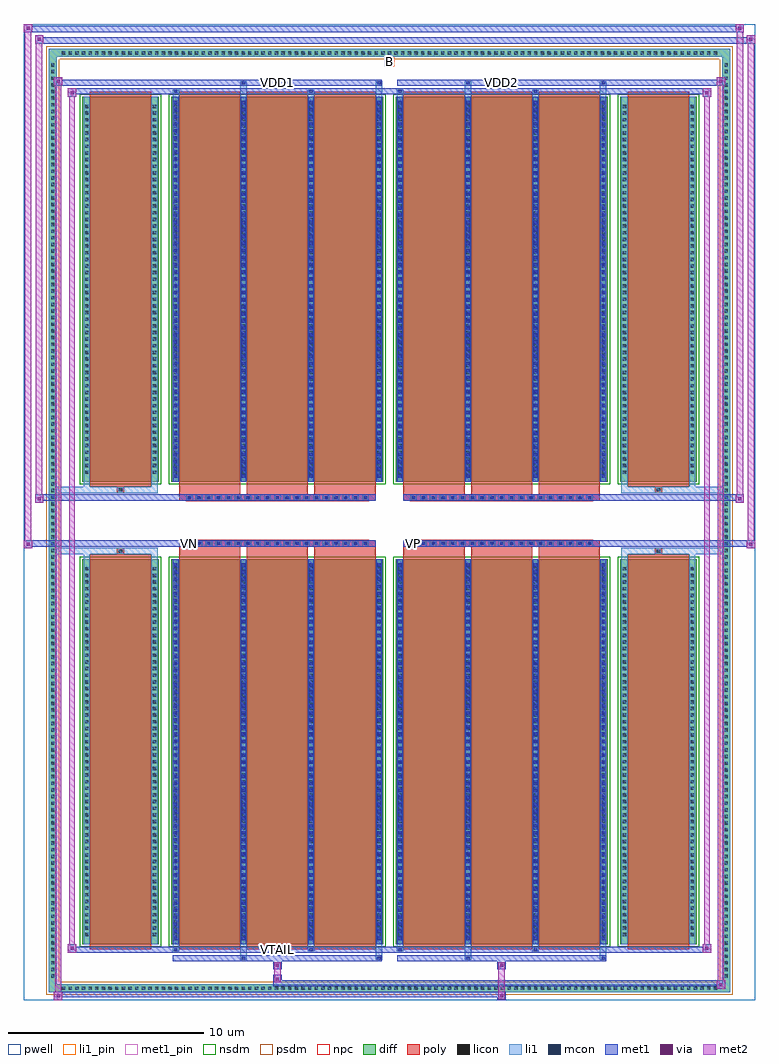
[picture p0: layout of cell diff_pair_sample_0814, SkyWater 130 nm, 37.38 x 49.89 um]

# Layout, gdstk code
import gdstk
lib = gdstk.Library(unit=1e-6, precision=5e-09)
def R(c, l, rs):  # rectangles x0, y0, x1, y1
    for r in rs: c.add(gdstk.rectangle(r[:2], r[2:], *l))
def A(c, l, x, y, w, h, nx, ny, dx, dy):  # array of equal rectangles
    R(c, l, [(x+i*dx, y+j*dy, x+i*dx+w, y+j*dy+h) for i in range(nx) for j in range(ny)])
def P(c, l, *ps):  # polygons
    for p in ps: c.add(gdstk.Polygon(p, *l))
pwell = (64, 44)
diff = (65, 20)
poly = (66, 20)
licon = (66, 44)
li1_pin = (67, 16)
li1 = (67, 20)
mcon = (67, 44)
met1_pin = (68, 16)
met1 = (68, 20)
via = (68, 44)
met2 = (69, 20)
nsdm = (93, 44)
psdm = (94, 20)
npc = (95, 20)

diff_pair_sample_0814 = lib.new_cell('diff_pair_sample_0814')
R(diff_pair_sample_0814, pwell, [(-18.69,-24.51,18.69,25.38), (-16.01,-22.7,-0.01,-0.8), (0.01,-22.7,16.01,-0.8), (-16.01,0.8,-0.01,22.7), (0.01,0.8,16.01,22.7)])
A(diff_pair_sample_0814, diff, -16.865, -24.11, 0.41, 0.41, 99, 2, 0.34, 47.81)
A(diff_pair_sample_0814, diff, -17.42, -23.495, 0.41, 0.41, 1, 138, 0, 0.34)
A(diff_pair_sample_0814, diff, 17.01, -23.495, 0.41, 0.41, 1, 138, 0, 0.34)
R(diff_pair_sample_0814, diff, [(-16.865,-24.11,16.865,-23.7), (-17.42,-23.495,-17.01,23.495), (17.01,-23.495,17.42,23.495), (-15.7,-21.655,-11.79,-1.985), (-11.15,-21.655,-0.32,-1.985), (0.32,-21.655,11.15,-1.985), (11.79,-21.655,15.7,-1.985), (-15.7,1.985,-11.79,21.655), (-11.15,1.985,-0.32,21.655), (0.32,1.985,11.15,21.655), (11.79,1.985,15.7,21.655), (-16.865,23.7,16.865,24.11)])
P(diff_pair_sample_0814, diff, [(17.42,24.11),(-17.42,24.11),(-17.42,-23.7),(-17.01,-23.7),(-17.01,23.7),(17.01,23.7),(17.01,-23.7),(-17.01,-23.7),(-17.42,-23.7),(-17.42,-24.11),(17.42,-24.11)])
A(diff_pair_sample_0814, poly, -10.76, -21.905, 3.13, 20.17, 3, 2, 3.46, 23.64)
A(diff_pair_sample_0814, poly, 0.71, -21.905, 3.13, 20.17, 3, 2, 3.46, 23.64)
A(diff_pair_sample_0814, poly, -10.76, -1.735, 3.13, 0.405, 3, 2, 3.46, 3.065)
A(diff_pair_sample_0814, poly, 0.71, -1.735, 3.13, 0.405, 3, 2, 3.46, 3.065)
A(diff_pair_sample_0814, poly, -10.4, -1.33, 0.33, 0.33, 19, 2, 0.5, 2.33)
A(diff_pair_sample_0814, poly, 1.07, -1.33, 0.33, 0.33, 19, 2, 0.5, 2.33)
R(diff_pair_sample_0814, poly, [(-15.31,-21.905,-12.18,-1.735), (12.18,-21.905,15.31,-1.735), (-13.91,-1.735,-13.58,-1.405), (-13.91,-1.735,-13.58,-1.405), (13.58,-1.735,13.91,-1.405), (13.58,-1.735,13.91,-1.405), (-10.76,-1.33,-0.71,-1), (0.71,-1.33,10.76,-1), (-10.76,1,-0.71,1.33), (0.71,1,10.76,1.33), (-13.91,1.405,-13.58,1.735), (-13.91,1.405,-13.58,1.735), (13.58,1.405,13.91,1.735), (13.58,1.405,13.91,1.735), (-15.31,1.735,-12.18,21.905), (12.18,1.735,15.31,21.905)])
A(diff_pair_sample_0814, licon, -16.745, -23.99, 0.17, 0.17, 99, 2, 0.34, 47.81)
A(diff_pair_sample_0814, licon, -17.3, -23.375, 0.17, 0.17, 1, 138, 0, 0.34)
A(diff_pair_sample_0814, licon, 17.13, -23.375, 0.17, 0.17, 1, 138, 0, 0.34)
A(diff_pair_sample_0814, licon, -15.56, -21.255, 0.17, 0.17, 1, 56, 0, 0.34)
A(diff_pair_sample_0814, licon, -12.1, -21.255, 0.17, 0.17, 1, 56, 0, 0.34)
A(diff_pair_sample_0814, licon, -11.01, -21.255, 0.17, 0.17, 4, 56, 3.46, 0.34)
A(diff_pair_sample_0814, licon, 0.46, -21.255, 0.17, 0.17, 4, 56, 3.46, 0.34)
A(diff_pair_sample_0814, licon, 11.93, -21.255, 0.17, 0.17, 1, 56, 0, 0.34)
A(diff_pair_sample_0814, licon, 15.39, -21.255, 0.17, 0.17, 1, 56, 0, 0.34)
A(diff_pair_sample_0814, licon, -10.32, -1.25, 0.17, 0.17, 19, 2, 0.5, 2.33)
A(diff_pair_sample_0814, licon, 1.15, -1.25, 0.17, 0.17, 19, 2, 0.5, 2.33)
A(diff_pair_sample_0814, licon, -15.56, 2.385, 0.17, 0.17, 1, 56, 0, 0.34)
A(diff_pair_sample_0814, licon, -12.1, 2.385, 0.17, 0.17, 1, 56, 0, 0.34)
A(diff_pair_sample_0814, licon, -11.01, 2.385, 0.17, 0.17, 4, 56, 3.46, 0.34)
A(diff_pair_sample_0814, licon, 0.46, 2.385, 0.17, 0.17, 4, 56, 3.46, 0.34)
A(diff_pair_sample_0814, licon, 11.93, 2.385, 0.17, 0.17, 1, 56, 0, 0.34)
A(diff_pair_sample_0814, licon, 15.39, 2.385, 0.17, 0.17, 1, 56, 0, 0.34)
R(diff_pair_sample_0814, licon, [(-13.83,-1.655,-13.66,-1.485), (13.66,-1.655,13.83,-1.485), (-13.83,1.485,-13.66,1.655), (13.66,1.485,13.83,1.655)])
R(diff_pair_sample_0814, li1_pin, [(-0.25,23.2,0.25,23.7)])
A(diff_pair_sample_0814, li1, -16.825, -24.07, 0.33, 0.33, 99, 2, 0.34, 47.81)
A(diff_pair_sample_0814, li1, -17.38, -23.455, 0.33, 0.33, 1, 138, 0, 0.34)
A(diff_pair_sample_0814, li1, 17.05, -23.455, 0.33, 0.33, 1, 138, 0, 0.34)
A(diff_pair_sample_0814, li1, -11.09, -21.655, 0.33, 19.67, 4, 2, 3.46, 23.64)
A(diff_pair_sample_0814, li1, 0.38, -21.655, 0.33, 19.67, 4, 2, 3.46, 23.64)
A(diff_pair_sample_0814, li1, -11.01, -21.445, 0.17, 0.17, 4, 54, 3.46, 0.36)
A(diff_pair_sample_0814, li1, -11.01, -21.445, 0.17, 19.25, 4, 2, 3.46, 23.64)
A(diff_pair_sample_0814, li1, 0.46, -21.445, 0.17, 0.17, 4, 54, 3.46, 0.36)
A(diff_pair_sample_0814, li1, 0.46, -21.445, 0.17, 19.25, 4, 2, 3.46, 23.64)
A(diff_pair_sample_0814, li1, -15.64, -21.335, 0.33, 0.33, 1, 56, 0, 0.34)
A(diff_pair_sample_0814, li1, -12.18, -21.335, 0.33, 0.33, 1, 56, 0, 0.34)
A(diff_pair_sample_0814, li1, -11.09, -21.335, 0.33, 0.33, 4, 56, 3.46, 0.34)
A(diff_pair_sample_0814, li1, 0.38, -21.335, 0.33, 0.33, 4, 56, 3.46, 0.34)
A(diff_pair_sample_0814, li1, 11.85, -21.335, 0.33, 0.33, 1, 56, 0, 0.34)
A(diff_pair_sample_0814, li1, 15.31, -21.335, 0.33, 0.33, 1, 56, 0, 0.34)
A(diff_pair_sample_0814, li1, -10.4, -1.33, 0.33, 0.33, 19, 2, 0.5, 2.33)
A(diff_pair_sample_0814, li1, 1.07, -1.33, 0.33, 0.33, 19, 2, 0.5, 2.33)
A(diff_pair_sample_0814, li1, -11.01, 2.195, 0.17, 0.17, 4, 54, 3.46, 0.36)
A(diff_pair_sample_0814, li1, 0.46, 2.195, 0.17, 0.17, 4, 54, 3.46, 0.36)
A(diff_pair_sample_0814, li1, -15.64, 2.305, 0.33, 0.33, 1, 56, 0, 0.34)
A(diff_pair_sample_0814, li1, -12.18, 2.305, 0.33, 0.33, 1, 56, 0, 0.34)
A(diff_pair_sample_0814, li1, -11.09, 2.305, 0.33, 0.33, 4, 56, 3.46, 0.34)
A(diff_pair_sample_0814, li1, 0.38, 2.305, 0.33, 0.33, 4, 56, 3.46, 0.34)
A(diff_pair_sample_0814, li1, 11.85, 2.305, 0.33, 0.33, 1, 56, 0, 0.34)
A(diff_pair_sample_0814, li1, 15.31, 2.305, 0.33, 0.33, 1, 56, 0, 0.34)
R(diff_pair_sample_0814, li1, [(-17.42,-24.11,-17.01,-23.7), (-17.42,-24.11,-17.01,-23.7), (-17.01,-24.11,17.01,-23.7), (17.01,-24.11,17.42,-23.7), (17.01,-24.11,17.42,-23.7), (-17.42,-23.7,-17.01,23.7), (17.01,-23.7,17.42,23.7), (-7.63,-22.46,-7.3,-21.655), (-7.55,-22.46,-7.38,-22.29), (-0.71,-22.46,-0.38,-21.655), (-0.63,-22.46,-0.46,-22.29), (3.84,-22.46,4.17,-21.655), (3.92,-22.46,4.09,-22.29), (10.76,-22.46,11.09,-21.655), (10.84,-22.46,11.01,-22.29), (-11.09,-22.03,-10.76,-21.655), (-11.01,-22.03,-10.84,-21.86), (-4.17,-22.03,-3.84,-21.655), (-4.09,-22.03,-3.92,-21.86), (0.38,-22.03,0.71,-21.655), (0.46,-22.03,0.63,-21.86), (7.3,-22.03,7.63,-21.655), (7.38,-22.03,7.55,-21.86), (-15.64,-21.655,-15.31,-1.985), (-12.18,-21.655,-11.85,-1.985), (11.85,-21.655,12.18,-1.985), (15.31,-21.655,15.64,-1.985), (-15.64,-1.985,-15.31,-1.405), (-12.18,-1.985,-11.85,-1.405), (11.85,-1.985,12.18,-1.405), (15.31,-1.985,15.64,-1.405), (-17.42,-1.735,-13.91,-1.405), (-15.64,-1.735,-13.91,-1.405), (-13.91,-1.735,-13.58,-1.405), (-13.58,-1.735,-11.85,-1.405), (11.85,-1.735,13.58,-1.405), (13.58,-1.735,13.91,-1.405), (13.58,-1.735,17.42,-1.405), (13.91,-1.735,15.64,-1.405), (-17.42,1.405,-13.91,1.735), (-15.64,1.405,-13.91,1.735), (-15.64,1.405,-15.31,1.985), (-13.91,1.405,-13.58,1.735), (-13.58,1.405,-11.85,1.735), (-12.18,1.405,-11.85,1.985), (11.85,1.405,13.58,1.735), (11.85,1.405,12.18,1.985), (13.58,1.405,13.91,1.735), (13.58,1.405,17.42,1.735), (13.91,1.405,15.64,1.735), (15.31,1.405,15.64,1.985), (-15.64,1.985,-15.31,21.655), (-12.18,1.985,-11.85,21.655), (11.85,1.985,12.18,21.655), (15.31,1.985,15.64,21.655), (-11.09,21.655,-10.76,22.03), (-7.63,21.655,-7.3,22.46), (-4.17,21.655,-3.84,22.03), (-0.71,21.655,-0.38,22.46), (0.38,21.655,0.71,22.03), (3.84,21.655,4.17,22.46), (7.3,21.655,7.63,22.03), (10.76,21.655,11.09,22.46), (-11.01,21.86,-10.84,22.03), (-4.09,21.86,-3.92,22.03), (0.46,21.86,0.63,22.03), (7.38,21.86,7.55,22.03), (-7.55,22.29,-7.38,22.46), (-0.63,22.29,-0.46,22.46), (3.92,22.29,4.09,22.46), (10.84,22.29,11.01,22.46), (-17.42,23.7,-17.01,24.11), (-17.42,23.7,-17.01,24.11), (-17.01,23.7,17.01,24.11), (17.01,23.7,17.42,24.11), (17.01,23.7,17.42,24.11)])
A(diff_pair_sample_0814, mcon, -11.01, -21.445, 0.17, 0.17, 4, 54, 3.46, 0.36)
A(diff_pair_sample_0814, mcon, 0.46, -21.445, 0.17, 0.17, 4, 54, 3.46, 0.36)
A(diff_pair_sample_0814, mcon, -10.32, -1.25, 0.17, 0.17, 19, 2, 0.5, 2.33)
A(diff_pair_sample_0814, mcon, 1.15, -1.25, 0.17, 0.17, 19, 2, 0.5, 2.33)
A(diff_pair_sample_0814, mcon, -11.01, 2.195, 0.17, 0.17, 4, 54, 3.46, 0.36)
A(diff_pair_sample_0814, mcon, 0.46, 2.195, 0.17, 0.17, 4, 54, 3.46, 0.36)
R(diff_pair_sample_0814, mcon, [(-7.55,-22.46,-7.38,-22.29), (-0.63,-22.46,-0.46,-22.29), (3.92,-22.46,4.09,-22.29), (10.84,-22.46,11.01,-22.29), (-11.01,-22.03,-10.84,-21.86), (-4.09,-22.03,-3.92,-21.86), (0.46,-22.03,0.63,-21.86), (7.38,-22.03,7.55,-21.86), (-11.01,21.86,-10.84,22.03), (-4.09,21.86,-3.92,22.03), (0.46,21.86,0.63,22.03), (7.38,21.86,7.55,22.03), (-7.55,22.29,-7.38,22.46), (-0.63,22.29,-0.46,22.46), (3.92,22.29,4.09,22.46), (10.84,22.29,11.01,22.46)])
R(diff_pair_sample_0814, met1_pin, [(-5.87,-22.07,-5.6,-21.8), (-10.37,-1.29,-10.1,-1.02), (1.1,-1.29,1.37,-1.02), (-5.87,22.25,-5.6,22.52), (5.6,22.25,5.87,22.52)])
A(diff_pair_sample_0814, met1, -11.07, -21.655, 0.29, 19.67, 4, 2, 3.46, 23.64)
A(diff_pair_sample_0814, met1, 0.4, -21.655, 0.29, 19.67, 4, 2, 3.46, 23.64)
A(diff_pair_sample_0814, met1, -11.07, -21.505, 0.29, 0.29, 4, 54, 3.46, 0.36)
A(diff_pair_sample_0814, met1, 0.4, -21.505, 0.29, 0.29, 4, 54, 3.46, 0.36)
A(diff_pair_sample_0814, met1, -10.38, -1.31, 0.29, 0.29, 19, 2, 0.5, 2.33)
A(diff_pair_sample_0814, met1, 1.09, -1.31, 0.29, 0.29, 19, 2, 0.5, 2.33)
A(diff_pair_sample_0814, met1, -11.07, 2.135, 0.29, 0.29, 4, 54, 3.46, 0.36)
A(diff_pair_sample_0814, met1, 0.4, 2.135, 0.29, 0.29, 4, 54, 3.46, 0.36)
R(diff_pair_sample_0814, met1, [(-17.15,-24.51,-16.72,-24.08), (5.52,-24.51,5.95,-24.08), (-17.15,-24.37,5.95,-24.08), (16.72,-23.94,17.15,-23.51), (-5.95,-23.8,17.15,-23.51), (-5.95,-23.66,-5.52,-23.23), (-5.95,-22.95,-5.52,-22.52), (5.52,-22.95,5.95,-22.52), (-11.07,-22.52,-0.4,-22.23), (-7.61,-22.52,-7.32,-22.23), (-0.69,-22.52,-0.4,-22.23), (0.4,-22.52,11.07,-22.23), (3.86,-22.52,4.15,-22.23), (10.78,-22.52,11.07,-22.23), (-16.44,-22.09,-16.01,-21.66), (-16.44,-22.09,-11.07,-21.8), (-11.07,-22.09,-10.78,-21.8), (-11.07,-22.09,-0.4,-21.8), (-4.15,-22.09,-3.86,-21.8), (-0.4,-22.09,0.4,-21.8), (0.4,-22.09,0.69,-21.8), (0.4,-22.09,11.07,-21.8), (7.32,-22.09,7.61,-21.8), (11.07,-22.09,16.44,-21.8), (16.01,-22.09,16.44,-21.66), (-18.69,-1.43,-18.26,-1), (18.26,-1.43,18.69,-1), (-18.69,-1.33,-0.71,-1), (-10.76,-1.33,-0.71,-1), (0.71,-1.33,10.76,-1), (0.71,-1.33,18.69,-1), (-18.12,0.9,-17.69,1.33), (17.69,0.9,18.12,1.33), (-18.12,1,-10.76,1.33), (-10.76,1,-0.71,1.33), (0.71,1,10.76,1.33), (10.76,1,18.12,1.33), (-16.44,21.66,-16.01,22.09), (16.01,21.66,16.44,22.09), (-16.44,21.8,-11.07,22.09), (-11.07,21.8,-10.78,22.09), (-11.07,21.8,-0.4,22.09), (-4.15,21.8,-3.86,22.09), (-0.4,21.8,0.4,22.09), (0.4,21.8,0.69,22.09), (0.4,21.8,11.07,22.09), (7.32,21.8,7.61,22.09), (11.07,21.8,16.44,22.09), (-17.15,22.23,-16.72,22.66), (-17.15,22.23,-11.07,22.52), (-11.07,22.23,-0.4,22.52), (-7.61,22.23,-7.32,22.52), (-0.69,22.23,-0.4,22.52), (0.4,22.23,11.07,22.52), (3.86,22.23,4.15,22.52), (10.78,22.23,11.07,22.52), (11.07,22.23,17.15,22.52), (16.72,22.23,17.15,22.66), (-18.12,24.38,-17.69,24.81), (-18.12,24.38,-16.01,24.71), (-16.01,24.38,16.01,24.71), (16.01,24.38,18.69,24.71), (18.26,24.38,18.69,24.81), (-18.69,24.95,-18.26,25.38), (-18.69,24.95,-16.01,25.28), (-16.01,24.95,16.01,25.28), (16.01,24.95,18.12,25.28), (17.69,24.95,18.12,25.38)])
R(diff_pair_sample_0814, via, [(-17.01,-24.37,-16.86,-24.22), (5.66,-24.37,5.81,-24.22), (16.86,-23.8,17.01,-23.65), (-5.81,-23.52,-5.66,-23.37), (-5.81,-22.81,-5.66,-22.66), (5.66,-22.81,5.81,-22.66), (-16.3,-21.95,-16.15,-21.8), (16.15,-21.95,16.3,-21.8), (-18.55,-1.29,-18.4,-1.14), (18.4,-1.29,18.55,-1.14), (-17.98,1.04,-17.83,1.19), (17.83,1.04,17.98,1.19), (-16.3,21.8,-16.15,21.95), (16.15,21.8,16.3,21.95), (-17.01,22.37,-16.86,22.52), (16.86,22.37,17.01,22.52), (-17.98,24.52,-17.83,24.67), (18.4,24.52,18.55,24.67), (-18.55,25.09,-18.4,25.24), (17.83,25.09,17.98,25.24)])
R(diff_pair_sample_0814, met2, [(-17.15,-24.51,-16.72,-24.08), (-17.08,-24.51,-16.79,22.66), (-16.79,-24.51,-16.72,-24.08), (-17.1,-24.46,-16.77,-24.13), (5.57,-24.46,5.9,-24.13), (5.57,-24.13,5.9,-22.9), (16.72,-23.94,17.15,-23.51), (16.79,-23.94,17.08,22.66), (17.08,-23.94,17.15,-23.51), (16.77,-23.89,17.1,-23.56), (-5.9,-23.61,-5.57,-23.28), (-5.9,-23.28,-5.57,-22.9), (-5.9,-22.9,-5.57,-22.57), (5.57,-22.9,5.9,-22.57), (-16.44,-22.09,-16.01,-21.66), (-16.37,-22.09,-16.08,22.09), (-16.08,-22.09,-16.01,-21.66), (16.01,-22.09,16.44,-21.66), (16.08,-22.09,16.37,22.09), (16.37,-22.09,16.44,-21.66), (-16.39,-22.04,-16.06,-21.71), (16.06,-22.04,16.39,-21.71), (-18.69,-1.43,-18.26,-1), (-18.64,-1.43,-18.31,25.38), (-18.31,-1.43,-18.26,-1), (18.26,-1.43,18.69,-1), (18.31,-1.43,18.64,24.81), (18.64,-1.43,18.69,-1), (-18.64,-1.38,-18.31,-1.05), (18.31,-1.38,18.64,-1.05), (-18.12,0.9,-17.69,1.33), (-18.07,0.9,-17.74,24.81), (-17.74,0.9,-17.69,1.33), (17.69,0.9,18.12,1.33), (17.74,0.9,18.07,25.38), (18.07,0.9,18.12,1.33), (-18.07,0.95,-17.74,1.28), (17.74,0.95,18.07,1.28), (-16.44,21.66,-16.01,22.09), (-16.08,21.66,-16.01,22.09), (16.01,21.66,16.44,22.09), (16.37,21.66,16.44,22.09), (-16.39,21.71,-16.06,22.04), (16.06,21.71,16.39,22.04), (-17.15,22.23,-16.72,22.66), (-16.79,22.23,-16.72,22.66), (16.72,22.23,17.15,22.66), (17.08,22.23,17.15,22.66), (-17.1,22.28,-16.77,22.61), (16.77,22.28,17.1,22.61), (-18.12,24.38,-17.69,24.81), (-17.74,24.38,-17.69,24.81), (18.26,24.38,18.69,24.81), (18.64,24.38,18.69,24.81), (-18.07,24.43,-17.74,24.76), (18.31,24.43,18.64,24.76), (-18.69,24.95,-18.26,25.38), (-18.31,24.95,-18.26,25.38), (17.69,24.95,18.12,25.38), (18.07,24.95,18.12,25.38), (-18.64,25,-18.31,25.33), (17.74,25,18.07,25.33)])
R(diff_pair_sample_0814, nsdm, [(-15.83,-21.785,-11.66,-1.855), (-11.28,-21.785,-0.19,-1.855), (0.19,-21.785,11.28,-1.855), (11.66,-21.785,15.83,-1.855), (-15.83,1.855,-11.66,21.785), (-11.28,1.855,-0.19,21.785), (0.19,1.855,11.28,21.785), (11.66,1.855,15.83,21.785)])
P(diff_pair_sample_0814, psdm, [(17.55,24.24),(-17.55,24.24),(-17.55,-23.57),(-16.88,-23.57),(-16.88,23.57),(16.88,23.57),(16.88,-23.57),(-16.88,-23.57),(-17.55,-23.57),(-17.55,-24.24),(17.55,-24.24)])
A(diff_pair_sample_0814, npc, -10.42, -1.35, 0.37, 0.37, 19, 2, 0.5, 2.33)
A(diff_pair_sample_0814, npc, 1.05, -1.35, 0.37, 0.37, 19, 2, 0.5, 2.33)
R(diff_pair_sample_0814, npc, [(-13.93,-1.755,-13.56,-1.385), (13.56,-1.755,13.93,-1.385), (-10.42,-1.35,-9.55,-0.98), (-10.42,-1.35,-9.55,-0.98), (-9.92,-1.35,-9.05,-0.98), (-9.92,-1.35,-9.05,-0.98), (-9.42,-1.35,-8.55,-0.98), (-9.42,-1.35,-8.55,-0.98), (-8.92,-1.35,-8.05,-0.98), (-8.92,-1.35,-8.05,-0.98), (-8.42,-1.35,-7.55,-0.98), (-8.42,-1.35,-7.55,-0.98), (-7.92,-1.35,-7.05,-0.98), (-7.92,-1.35,-7.05,-0.98), (-7.42,-1.35,-6.55,-0.98), (-7.42,-1.35,-6.55,-0.98), (-6.92,-1.35,-6.05,-0.98), (-6.92,-1.35,-6.05,-0.98), (-6.42,-1.35,-5.55,-0.98), (-6.42,-1.35,-5.55,-0.98), (-5.92,-1.35,-5.05,-0.98), (-5.92,-1.35,-5.05,-0.98), (-5.42,-1.35,-4.55,-0.98), (-5.42,-1.35,-4.55,-0.98), (-4.92,-1.35,-4.05,-0.98), (-4.92,-1.35,-4.05,-0.98), (-4.42,-1.35,-3.55,-0.98), (-4.42,-1.35,-3.55,-0.98), (-3.92,-1.35,-3.05,-0.98), (-3.92,-1.35,-3.05,-0.98), (-3.42,-1.35,-2.55,-0.98), (-3.42,-1.35,-2.55,-0.98), (-2.92,-1.35,-2.05,-0.98), (-2.92,-1.35,-2.05,-0.98), (-2.42,-1.35,-1.55,-0.98), (-2.42,-1.35,-1.55,-0.98), (-1.92,-1.35,-1.05,-0.98), (-1.92,-1.35,-1.05,-0.98), (1.05,-1.35,1.92,-0.98), (1.05,-1.35,1.92,-0.98), (1.55,-1.35,2.42,-0.98), (1.55,-1.35,2.42,-0.98), (2.05,-1.35,2.92,-0.98), (2.05,-1.35,2.92,-0.98), (2.55,-1.35,3.42,-0.98), (2.55,-1.35,3.42,-0.98), (3.05,-1.35,3.92,-0.98), (3.05,-1.35,3.92,-0.98), (3.55,-1.35,4.42,-0.98), (3.55,-1.35,4.42,-0.98), (4.05,-1.35,4.92,-0.98), (4.05,-1.35,4.92,-0.98), (4.55,-1.35,5.42,-0.98), (4.55,-1.35,5.42,-0.98), (5.05,-1.35,5.92,-0.98), (5.05,-1.35,5.92,-0.98), (5.55,-1.35,6.42,-0.98), (5.55,-1.35,6.42,-0.98), (6.05,-1.35,6.92,-0.98), (6.05,-1.35,6.92,-0.98), (6.55,-1.35,7.42,-0.98), (6.55,-1.35,7.42,-0.98), (7.05,-1.35,7.92,-0.98), (7.05,-1.35,7.92,-0.98), (7.55,-1.35,8.42,-0.98), (7.55,-1.35,8.42,-0.98), (8.05,-1.35,8.92,-0.98), (8.05,-1.35,8.92,-0.98), (8.55,-1.35,9.42,-0.98), (8.55,-1.35,9.42,-0.98), (9.05,-1.35,9.92,-0.98), (9.05,-1.35,9.92,-0.98), (9.55,-1.35,10.42,-0.98), (9.55,-1.35,10.42,-0.98), (-10.42,0.98,-9.55,1.35), (-10.42,0.98,-9.55,1.35), (-9.92,0.98,-9.05,1.35), (-9.92,0.98,-9.05,1.35), (-9.42,0.98,-8.55,1.35), (-9.42,0.98,-8.55,1.35), (-8.92,0.98,-8.05,1.35), (-8.92,0.98,-8.05,1.35), (-8.42,0.98,-7.55,1.35), (-8.42,0.98,-7.55,1.35), (-7.92,0.98,-7.05,1.35), (-7.92,0.98,-7.05,1.35), (-7.42,0.98,-6.55,1.35), (-7.42,0.98,-6.55,1.35), (-6.92,0.98,-6.05,1.35), (-6.92,0.98,-6.05,1.35), (-6.42,0.98,-5.55,1.35), (-6.42,0.98,-5.55,1.35), (-5.92,0.98,-5.05,1.35), (-5.92,0.98,-5.05,1.35), (-5.42,0.98,-4.55,1.35), (-5.42,0.98,-4.55,1.35), (-4.92,0.98,-4.05,1.35), (-4.92,0.98,-4.05,1.35), (-4.42,0.98,-3.55,1.35), (-4.42,0.98,-3.55,1.35), (-3.92,0.98,-3.05,1.35), (-3.92,0.98,-3.05,1.35), (-3.42,0.98,-2.55,1.35), (-3.42,0.98,-2.55,1.35), (-2.92,0.98,-2.05,1.35), (-2.92,0.98,-2.05,1.35), (-2.42,0.98,-1.55,1.35), (-2.42,0.98,-1.55,1.35), (-1.92,0.98,-1.05,1.35), (-1.92,0.98,-1.05,1.35), (1.05,0.98,1.92,1.35), (1.05,0.98,1.92,1.35), (1.55,0.98,2.42,1.35), (1.55,0.98,2.42,1.35), (2.05,0.98,2.92,1.35), (2.05,0.98,2.92,1.35), (2.55,0.98,3.42,1.35), (2.55,0.98,3.42,1.35), (3.05,0.98,3.92,1.35), (3.05,0.98,3.92,1.35), (3.55,0.98,4.42,1.35), (3.55,0.98,4.42,1.35), (4.05,0.98,4.92,1.35), (4.05,0.98,4.92,1.35), (4.55,0.98,5.42,1.35), (4.55,0.98,5.42,1.35), (5.05,0.98,5.92,1.35), (5.05,0.98,5.92,1.35), (5.55,0.98,6.42,1.35), (5.55,0.98,6.42,1.35), (6.05,0.98,6.92,1.35), (6.05,0.98,6.92,1.35), (6.55,0.98,7.42,1.35), (6.55,0.98,7.42,1.35), (7.05,0.98,7.92,1.35), (7.05,0.98,7.92,1.35), (7.55,0.98,8.42,1.35), (7.55,0.98,8.42,1.35), (8.05,0.98,8.92,1.35), (8.05,0.98,8.92,1.35), (8.55,0.98,9.42,1.35), (8.55,0.98,9.42,1.35), (9.05,0.98,9.92,1.35), (9.05,0.98,9.92,1.35), (9.55,0.98,10.42,1.35), (9.55,0.98,10.42,1.35), (-13.93,1.385,-13.56,1.755), (13.56,1.385,13.93,1.755)])
diff_pair_sample_0814.add(gdstk.Label('VTAIL', (-5.735,-21.935), layer=68, texttype=5))
diff_pair_sample_0814.add(gdstk.Label('VN', (-10.235,-1.155), layer=68, texttype=5))
diff_pair_sample_0814.add(gdstk.Label('VP', (1.235,-1.155), layer=68, texttype=5))
diff_pair_sample_0814.add(gdstk.Label('B', (0,23.45), layer=67, texttype=5))
diff_pair_sample_0814.add(gdstk.Label('VDD2', (5.735,22.385), layer=68, texttype=5))
diff_pair_sample_0814.add(gdstk.Label('VDD1', (-5.735,22.385), layer=68, texttype=5))

lib.write_gds('diff_pair_sample_0814.gds')
